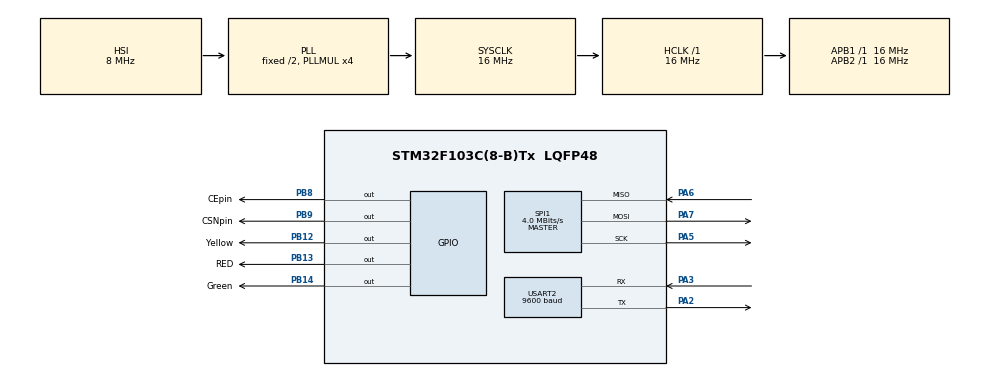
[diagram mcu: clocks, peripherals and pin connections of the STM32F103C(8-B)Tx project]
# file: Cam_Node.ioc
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Mcu.Family=STM32F1
PC15-OSC32_OUT.Mode=LSE-External-Oscillator
PA6.Mode=Full_Duplex_Master
PA7.Mode=Full_Duplex_Master
PD1-OSC_OUT.Mode=HSE-External-Oscillator
PB9.GPIO_Label=CSNpin
SPI1.VirtualType=VM_MASTER
PB14.GPIO_Label=Green
PD0-OSC_IN.Signal=RCC_OSC_IN
PC14-OSC32_IN.Signal=RCC_OSC32_IN
PB13.GPIO_Label=RED
PB13.Signal=GPIO_Output
NVIC.USART2_IRQn=true\:0\:0\:false\:false\:true\:true\:true
USART2.BaudRate=9600
RCC.SYSCLKSource=RCC_SYSCLKSOURCE_PLLCLK
ProjectManager.StackSize=0x400
PD1-OSC_OUT.Signal=RCC_OSC_OUT
PA13.Signal=SYS_JTMS-SWDIO
PA3.Mode=Asynchronous
PB8.GPIO_Label=CEpin
ProjectManager.TargetToolchain=STM32CubeIDE
SPI1.Direction=SPI_DIRECTION_2LINES
RCC.HCLKFreq_Value=16000000
RCC.APB2TimFreq_Value=16000000
SPI1.CalculateBaudRate=4.0 MBits/s
RCC.USBFreq_Value=16000000
PC15-OSC32_OUT.Signal=RCC_OSC32_OUT
RCC.AHBFreq_Value=16000000
PD0-OSC_IN.Mode=HSE-External-Oscillator
PB14.Signal=GPIO_Output
PA5.Signal=SPI1_SCK
board=custom
RCC.PLLMUL=RCC_PLL_MUL4
PB12.GPIO_Label=Yellow
RCC.APB2Freq_Value=16000000
PC14-OSC32_IN.Mode=LSE-External-Oscillator
VP_TIM2_VS_ClockSourceINT.Mode=Internal
SPI1.Mode=SPI_MODE_MASTER
PA14.Mode=Serial_Wire
NVIC.TIM2_IRQn=true\:0\:0\:false\:false\:true\:true\:true
TIM2.Period=6000
PA13.Mode=Serial_Wire
Mcu.Name=STM32F103C(8-B)Tx
PA2.Signal=USART2_TX
RCC.SYSCLKFreq_VALUE=16000000
Mcu.Package=LQFP48
PB9.Signal=GPIO_Output
TIM2.Prescaler=16000-1
PA6.Signal=SPI1_MISO
USART2.VirtualMode=VM_ASYNC
PA14.Signal=SYS_JTCK-SWCLK
ProjectManager.HeapSize=0x200
NVIC.PriorityGroup=NVIC_PRIORITYGROUP_4
RCC.APB1TimFreq_Value=16000000
PA2.Mode=Asynchronous
PB8.Signal=GPIO_Output
RCC.APB1Freq_Value=16000000
SPI1.BaudRatePrescaler=SPI_BAUDRATEPRESCALER_4
PB12.Signal=GPIO_Output
PA3.Signal=USART2_RX
PA5.Mode=Full_Duplex_Master
PA7.Signal=SPI1_MOSI

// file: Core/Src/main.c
/* USER CODE BEGIN Header */
/**
 ******************************************************************************
 * @file           : main.c
 * @brief          : Main program body
 ******************************************************************************
 * @attention
 *
 * <h2><center>&copy; Copyright (c) 2023 STMicroelectronics.
 * All rights reserved.</center></h2>
 *
 * This software component is licensed by ST under BSD 3-Clause license,
 * the "License"; You may not use this file except in compliance with the
 * License. You may obtain a copy of the License at:
 *                        opensource.org/licenses/BSD-3-Clause
 *
 ******************************************************************************
 */
/* USER CODE END Header */
#include "main.h"

/* USER CODE BEGIN Includes */
#include "my_nrf24.h"

/* USER CODE END Includes */

/* USER CODE BEGIN PD */
#define DEBUG_MODE 0
#define Diagnostics_Mode 1

#define NODE_ADD 2
/* USER CODE END PD */

SPI_HandleTypeDef hspi1;

TIM_HandleTypeDef htim2;

UART_HandleTypeDef huart2;

void SystemClock_Config(void);
static void MX_GPIO_Init(void);
static void MX_SPI1_Init(void);
static void MX_USART2_UART_Init(void);
static void MX_TIM2_Init(void);

/* USER CODE BEGIN 0 */
uint64_t TxpipeAddrs = 0x11223344AA;
char rec[32] = "";

/*for diagnostics*/
uint8_t ack[2];
uint8_t err_count = 0;

/* USER CODE END 0 */

int main(void) {

	/* MCU Configuration--------------------------------------------------------*/

	/* Reset of all peripherals, Initializes the Flash interface and the Systick. */
	HAL_Init();

	/* Configure the system clock */
	SystemClock_Config();

	/* Initialize all configured peripherals */
	MX_GPIO_Init();
	MX_SPI1_Init();
	MX_USART2_UART_Init();
	MX_TIM2_Init();
	/* USER CODE BEGIN 2 */

	NRF24_begin(GPIOB, CSNpin_Pin, CEpin_Pin, hspi1);
	NRF24_openReadingPipe(0, TxpipeAddrs);
	NRF24_setAutoAck(false);
	NRF24_setPayloadSize(32);
	NRF24_setChannel(52);
	NRF24_startListening();

	/*********************************************/
#if Diagnostics_Mode==1
	HAL_TIM_Base_Start_IT(&htim2);
	HAL_UART_Receive_IT(&huart2, ack, 2);
#endif
	/* USER CODE END 2 */

	/* Infinite loop */
	/* USER CODE BEGIN WHILE */
	while (1) {
		 NRF24_read(rec, 32);
		 if (rec[0] == NODE_ADD) {

		 if (rec[1] == 5)
		 {
		 HAL_GPIO_WritePin(GPIOB, RED_Pin, 1);
		 HAL_GPIO_WritePin(GPIOB, Yellow_Pin, 0);
		 HAL_GPIO_WritePin(GPIOB, Green_Pin, 0);
		 } else if (rec[1] == 6)
		 {

		 HAL_GPIO_WritePin(GPIOB, RED_Pin, 0);
		 HAL_GPIO_WritePin(GPIOB, Yellow_Pin, 1);
		 HAL_GPIO_WritePin(GPIOB, Green_Pin, 0);
		 } else if (rec[1] == 7)
		 {

		 HAL_GPIO_WritePin(GPIOB, RED_Pin, 0);
		 HAL_GPIO_WritePin(GPIOB, Yellow_Pin, 0);
		 HAL_GPIO_WritePin(GPIOB, Green_Pin, 1);
		 }

		 }

		/* USER CODE END WHILE */

	}
}

void SystemClock_Config(void) {
	RCC_OscInitTypeDef RCC_OscInitStruct = { 0 };
	RCC_ClkInitTypeDef RCC_ClkInitStruct = { 0 };

	/** Initializes the RCC Oscillators according to the specified parameters
	 * in the RCC_OscInitTypeDef structure.
	 */
	RCC_OscInitStruct.OscillatorType = RCC_OSCILLATORTYPE_HSI;
	RCC_OscInitStruct.HSIState = RCC_HSI_ON;
	RCC_OscInitStruct.HSICalibrationValue = RCC_HSICALIBRATION_DEFAULT;
	RCC_OscInitStruct.PLL.PLLState = RCC_PLL_ON;
	RCC_OscInitStruct.PLL.PLLSource = RCC_PLLSOURCE_HSI_DIV2;
	RCC_OscInitStruct.PLL.PLLMUL = RCC_PLL_MUL4;
	if (HAL_RCC_OscConfig(&RCC_OscInitStruct) != HAL_OK) {
		Error_Handler();
	}
	/** Initializes the CPU, AHB and APB buses clocks
	 */
	RCC_ClkInitStruct.ClockType = RCC_CLOCKTYPE_HCLK | RCC_CLOCKTYPE_SYSCLK
			| RCC_CLOCKTYPE_PCLK1 | RCC_CLOCKTYPE_PCLK2;
	RCC_ClkInitStruct.SYSCLKSource = RCC_SYSCLKSOURCE_PLLCLK;
	RCC_ClkInitStruct.AHBCLKDivider = RCC_SYSCLK_DIV1;
	RCC_ClkInitStruct.APB1CLKDivider = RCC_HCLK_DIV1;
	RCC_ClkInitStruct.APB2CLKDivider = RCC_HCLK_DIV1;

	if (HAL_RCC_ClockConfig(&RCC_ClkInitStruct, FLASH_LATENCY_0) != HAL_OK) {
		Error_Handler();
	}
}

static void MX_SPI1_Init(void) {

	/* SPI1 parameter configuration*/
	hspi1.Instance = SPI1;
	hspi1.Init.Mode = SPI_MODE_MASTER;
	hspi1.Init.Direction = SPI_DIRECTION_2LINES;
	hspi1.Init.DataSize = SPI_DATASIZE_8BIT;
	hspi1.Init.CLKPolarity = SPI_POLARITY_LOW;
	hspi1.Init.CLKPhase = SPI_PHASE_1EDGE;
	hspi1.Init.NSS = SPI_NSS_SOFT;
	hspi1.Init.BaudRatePrescaler = SPI_BAUDRATEPRESCALER_4;
	hspi1.Init.FirstBit = SPI_FIRSTBIT_MSB;
	hspi1.Init.TIMode = SPI_TIMODE_DISABLE;
	hspi1.Init.CRCCalculation = SPI_CRCCALCULATION_DISABLE;
	hspi1.Init.CRCPolynomial = 10;
	if (HAL_SPI_Init(&hspi1) != HAL_OK) {
		Error_Handler();
	}

}

static void MX_TIM2_Init(void) {

	TIM_ClockConfigTypeDef sClockSourceConfig = { 0 };
	TIM_MasterConfigTypeDef sMasterConfig = { 0 };

	htim2.Instance = TIM2;
	htim2.Init.Prescaler = 16000 - 1;
	htim2.Init.CounterMode = TIM_COUNTERMODE_UP;
	htim2.Init.Period = 6000;
	htim2.Init.ClockDivision = TIM_CLOCKDIVISION_DIV1;
	htim2.Init.AutoReloadPreload = TIM_AUTORELOAD_PRELOAD_DISABLE;
	if (HAL_TIM_Base_Init(&htim2) != HAL_OK) {
		Error_Handler();
	}
	sClockSourceConfig.ClockSource = TIM_CLOCKSOURCE_INTERNAL;
	if (HAL_TIM_ConfigClockSource(&htim2, &sClockSourceConfig) != HAL_OK) {
		Error_Handler();
	}
	sMasterConfig.MasterOutputTrigger = TIM_TRGO_RESET;
	sMasterConfig.MasterSlaveMode = TIM_MASTERSLAVEMODE_DISABLE;
	if (HAL_TIMEx_MasterConfigSynchronization(&htim2, &sMasterConfig)
			!= HAL_OK) {
		Error_Handler();
	}

}

static void MX_USART2_UART_Init(void) {

	huart2.Instance = USART2;
	huart2.Init.BaudRate = 9600;
	huart2.Init.WordLength = UART_WORDLENGTH_8B;
	huart2.Init.StopBits = UART_STOPBITS_1;
	huart2.Init.Parity = UART_PARITY_NONE;
	huart2.Init.Mode = UART_MODE_TX_RX;
	huart2.Init.HwFlowCtl = UART_HWCONTROL_NONE;
	huart2.Init.OverSampling = UART_OVERSAMPLING_16;
	if (HAL_UART_Init(&huart2) != HAL_OK) {
		Error_Handler();
	}

}

static void MX_GPIO_Init(void) {
	GPIO_InitTypeDef GPIO_InitStruct = { 0 };

	/* GPIO Ports Clock Enable */
	__HAL_RCC_GPIOC_CLK_ENABLE();
	__HAL_RCC_GPIOD_CLK_ENABLE();
	__HAL_RCC_GPIOA_CLK_ENABLE();
	__HAL_RCC_GPIOB_CLK_ENABLE();

	/*Configure GPIO pin Output Level */
	HAL_GPIO_WritePin(GPIOB,
			Yellow_Pin | RED_Pin | Green_Pin | CEpin_Pin | CSNpin_Pin,
			GPIO_PIN_RESET);

	/*Configure GPIO pins : Yellow_Pin RED_Pin Green_Pin CEpin_Pin
	 CSNpin_Pin */
	GPIO_InitStruct.Pin = Yellow_Pin | RED_Pin | Green_Pin | CEpin_Pin
			| CSNpin_Pin;
	GPIO_InitStruct.Mode = GPIO_MODE_OUTPUT_PP;
	GPIO_InitStruct.Pull = GPIO_NOPULL;
	GPIO_InitStruct.Speed = GPIO_SPEED_FREQ_LOW;
	HAL_GPIO_Init(GPIOB, &GPIO_InitStruct);

}

/* USER CODE BEGIN 4 */

void HAL_UART_RxCpltCallback(UART_HandleTypeDef *huart) {
	HAL_UART_Receive_IT(&huart2, ack, 2);
	if (ack[0] == 'o' && ack[1] == 'k') {
		err_count = 0;
#if DEBUG_MODE==1
HAL_GPIO_TogglePin(GPIOB, Green_Pin);
#endif
	}
}

/* USER CODE END 4 */

void Error_Handler(void) {
	__disable_irq();
	while (1) {
	}
}

/************************ (C) COPYRIGHT STMicroelectronics *****END OF FILE****/
